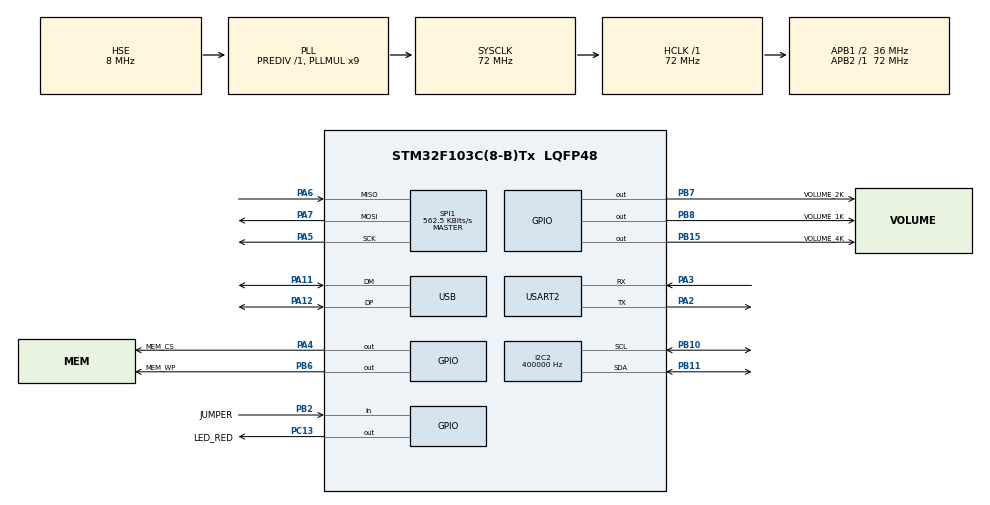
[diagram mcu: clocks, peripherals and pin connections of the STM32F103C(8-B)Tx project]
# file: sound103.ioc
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Dma.I2C2_TX.0.Direction=DMA_MEMORY_TO_PERIPH
Dma.I2C2_TX.0.Instance=DMA1_Channel4
Dma.I2C2_TX.0.MemDataAlignment=DMA_MDATAALIGN_BYTE
Dma.I2C2_TX.0.MemInc=DMA_MINC_ENABLE
Dma.I2C2_TX.0.Mode=DMA_NORMAL
Dma.I2C2_TX.0.PeriphDataAlignment=DMA_PDATAALIGN_BYTE
Dma.I2C2_TX.0.PeriphInc=DMA_PINC_DISABLE
Dma.I2C2_TX.0.Priority=DMA_PRIORITY_VERY_HIGH
Dma.Request0=I2C2_TX
FATFS._CODE_PAGE=855
FATFS._FS_LOCK=1
FATFS._FS_MINIMIZE=3
FATFS._FS_TINY=1
FATFS._MAX_LFN=12
FATFS._MAX_SS=4096
FATFS._MIN_SS=4096
FATFS._STRF_ENCODE=0
FATFS._USE_FASTSEEK=0
FATFS._USE_MKFS=1
FATFS._USE_STRFUNC=0
FREERTOS.BinarySemaphores01=dmaCpltSoundSem,Dynamic,NULL;doPlayingSem,Dynamic,NULL
FREERTOS.Tasks01=MainTask,0,128,StartMainTask,Default,NULL,Dynamic,NULL,NULL;SoundTask,3,128,StartSound,Default,NULL,Dynamic,NULL,NULL;WiFiTask,0,128,StartWiFiTask,Default,NULL,Dynamic,NULL,NULL;GsmTask,0,128,StartGsmTask,Default,NULL,Dynamic,NULL,NULL
FREERTOS.configCHECK_FOR_STACK_OVERFLOW=2
FREERTOS.configENABLE_BACKWARD_COMPATIBILITY=0
FREERTOS.configTOTAL_HEAP_SIZE=3500
I2C2.ClockSpeed=400000
I2C2.I2C_Mode=I2C_Fast
Mcu.Family=STM32F1
Mcu.Name=STM32F103C(8-B)Tx
Mcu.Package=LQFP48
NVIC.DMA1_Channel4_IRQn=true\:10\:0\:true\:false\:true\:true\:true
NVIC.I2C2_ER_IRQn=true\:6\:0\:true\:false\:true\:false\:true
NVIC.I2C2_EV_IRQn=true\:6\:0\:true\:false\:true\:false\:true
NVIC.PriorityGroup=NVIC_PRIORITYGROUP_4
NVIC.TIM3_IRQn=true\:0\:0\:false\:false\:true\:false\:true
NVIC.TimeBase=TIM3_IRQn
NVIC.TimeBaseIP=TIM3
NVIC.USB_LP_CAN1_RX0_IRQn=true\:5\:0\:false\:false\:true\:true\:true
PA0-WKUP.Signal=S_TIM2_CH1_ETR
PA11.Mode=Device
PA11.Signal=USB_DM
PA12.Mode=Device
PA12.Signal=USB_DP
PA13.Mode=Trace_Asynchronous_SW
PA13.Signal=SYS_JTMS-SWDIO
PA14.Mode=Trace_Asynchronous_SW
PA14.Signal=SYS_JTCK-SWCLK
PA2.Mode=Asynchronous
PA2.Signal=USART2_TX
PA3.Mode=Asynchronous
PA3.Signal=USART2_RX
PA4.GPIO_Label=MEM_CS
PA4.PinState=GPIO_PIN_SET
PA4.Signal=GPIO_Output
PA5.Mode=Full_Duplex_Master
PA5.Signal=SPI1_SCK
PA6.Mode=Full_Duplex_Master
PA6.Signal=SPI1_MISO
PA7.Mode=Full_Duplex_Master
PA7.Signal=SPI1_MOSI
PB10.Mode=I2C
PB10.Signal=I2C2_SCL
PB11.Mode=I2C
PB11.Signal=I2C2_SDA
PB15.GPIO_Label=VOLUME_4K
PB15.GPIO_ModeDefaultOutputPP=GPIO_MODE_OUTPUT_OD
PB15.Signal=GPIO_Output
PB2.GPIO_Label=JUMPER
PB2.GPIO_PuPd=GPIO_NOPULL
PB2.Signal=GPIO_Input
PB3.Mode=Trace_Asynchronous_SW
PB3.Signal=SYS_JTDO-TRACESWO
PB6.GPIO_Label=MEM_WP
PB6.PinState=GPIO_PIN_SET
PB6.Signal=GPIO_Output
PB7.GPIO_Label=VOLUME_2K
PB7.GPIO_ModeDefaultOutputPP=GPIO_MODE_OUTPUT_OD
PB7.Signal=GPIO_Output
PB8.GPIO_Label=VOLUME_1K
PB8.GPIO_ModeDefaultOutputPP=GPIO_MODE_OUTPUT_OD
PB8.Signal=GPIO_Output
PC13-TAMPER-RTC.GPIO_Label=LED_RED
PC13-TAMPER-RTC.Signal=GPIO_Output
PC14-OSC32_IN.Mode=LSE-External-Oscillator
PC14-OSC32_IN.Signal=RCC_OSC32_IN
PC15-OSC32_OUT.Mode=LSE-External-Oscillator
PC15-OSC32_OUT.Signal=RCC_OSC32_OUT
PD0-OSC_IN.Mode=HSE-External-Oscillator
PD0-OSC_IN.Signal=RCC_OSC_IN
PD1-OSC_OUT.Mode=HSE-External-Oscillator
PD1-OSC_OUT.Signal=RCC_OSC_OUT
ProjectManager.HeapSize=0x200
ProjectManager.StackSize=0x800
ProjectManager.TargetToolchain=EWARM
RCC.ADCPresc=RCC_ADCPCLK2_DIV6
RCC.AHBFreq_Value=72000000
RCC.APB1CLKDivider=RCC_HCLK_DIV2
RCC.APB1Freq_Value=36000000
RCC.APB1TimFreq_Value=72000000
RCC.APB2Freq_Value=72000000
RCC.APB2TimFreq_Value=72000000
RCC.HCLKFreq_Value=72000000
RCC.PLLMUL=RCC_PLL_MUL9
RCC.RTCClockSelection=RCC_RTCCLKSOURCE_LSE
RCC.SYSCLKFreq_VALUE=72000000
RCC.SYSCLKSource=RCC_SYSCLKSOURCE_PLLCLK
RCC.USBFreq_Value=48000000
RCC.USBPrescaler=RCC_USBCLKSOURCE_PLL_DIV1_5
SH.S_TIM2_CH1_ETR.0=TIM2_CH1
SPI1.BaudRatePrescaler=SPI_BAUDRATEPRESCALER_128
SPI1.CalculateBaudRate=562.5 KBits/s
SPI1.Direction=SPI_DIRECTION_2LINES
SPI1.Mode=SPI_MODE_MASTER
SPI1.VirtualType=VM_MASTER
USART2.VirtualMode=VM_ASYNC
USB.ep0_mps=DEP0CTL_MPS_64
USB_DEVICE.CLASS_NAME_FS=MSC
USB_DEVICE.MANUFACTURER_STRING=Sound_Reklama
USB_DEVICE.MSC_MEDIA_PACKET=4096
USB_DEVICE.PRODUCT_STRING_MSC_FS=Sound Reklama FLASH
USB_DEVICE.USBD_MAX_STR_DESC_SIZ=128
USB_DEVICE.USBD_SUPPORT_USER_STRING=0
USB_DEVICE.VirtualMode=Msc
USB_DEVICE.VirtualModeFS=Msc_FS
VP_FATFS_VS_Generic.Mode=User_defined
VP_FREERTOS_VS_ENABLE.Mode=Enabled
VP_SYS_VS_tim3.Mode=TIM3
VP_USB_DEVICE_VS_USB_DEVICE_MSC_FS.Mode=MSC_FS
board=sound103

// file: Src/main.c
/**
  ******************************************************************************
  * @file           : main.c
  * @brief          : Main program body
  ******************************************************************************
  * This notice applies to any and all portions of this file
  * that are not between comment pairs USER CODE BEGIN and
  * USER CODE END. Other portions of this file, whether
  * inserted by the user or by software development tools
  * are owned by their respective copyright owners.
  *
  * Copyright (c) 2018 STMicroelectronics International N.V.
  * All rights reserved.
  *
  * Redistribution and use in source and binary forms, with or without
  * modification, are permitted, provided that the following conditions are met:
  *
  * 1. Redistribution of source code must retain the above copyright notice,
  *    this list of conditions and the following disclaimer.
  * 2. Redistributions in binary form must reproduce the above copyright notice,
  *    this list of conditions and the following disclaimer in the documentation
  *    and/or other materials provided with the distribution.
  * 3. Neither the name of STMicroelectronics nor the names of other
  *    contributors to this software may be used to endorse or promote products
  *    derived from this software without specific written permission.
  * 4. This software, including modifications and/or derivative works of this
  *    software, must execute solely and exclusively on microcontroller or
  *    microprocessor devices manufactured by or for STMicroelectronics.
  * 5. Redistribution and use of this software other than as permitted under
  *    this license is void and will automatically terminate your rights under
  *    this license.
  *
  * THIS SOFTWARE IS PROVIDED BY STMICROELECTRONICS AND CONTRIBUTORS "AS IS"
  * AND ANY EXPRESS, IMPLIED OR STATUTORY WARRANTIES, INCLUDING, BUT NOT
  * LIMITED TO, THE IMPLIED WARRANTIES OF MERCHANTABILITY, FITNESS FOR A
  * PARTICULAR PURPOSE AND NON-INFRINGEMENT OF THIRD PARTY INTELLECTUAL PROPERTY
  * RIGHTS ARE DISCLAIMED TO THE FULLEST EXTENT PERMITTED BY LAW. IN NO EVENT
  * SHALL STMICROELECTRONICS OR CONTRIBUTORS BE LIABLE FOR ANY DIRECT, INDIRECT,
  * INCIDENTAL, SPECIAL, EXEMPLARY, OR CONSEQUENTIAL DAMAGES (INCLUDING, BUT NOT
  * LIMITED TO, PROCUREMENT OF SUBSTITUTE GOODS OR SERVICES; LOSS OF USE, DATA,
  * OR PROFITS; OR BUSINESS INTERRUPTION) HOWEVER CAUSED AND ON ANY THEORY OF
  * LIABILITY, WHETHER IN CONTRACT, STRICT LIABILITY, OR TORT (INCLUDING
  * NEGLIGENCE OR OTHERWISE) ARISING IN ANY WAY OUT OF THE USE OF THIS SOFTWARE,
  * EVEN IF ADVISED OF THE POSSIBILITY OF SUCH DAMAGE.
  *
  ******************************************************************************
  */
#include "main.h"
#include "stm32f1xx_hal.h"
#include "cmsis_os.h"
#include "fatfs.h"
#include "usb_device.h"

/* USER CODE BEGIN Includes */
#include "SPI_Flash.h"
#include "Tasks/MainTask.h"
#include "Tasks/SoundTask.h"
#include "Tasks/WiFiTask.h"
/* USER CODE END Includes */

I2C_HandleTypeDef hi2c2;
DMA_HandleTypeDef hdma_i2c2_tx;

SPI_HandleTypeDef hspi1;

UART_HandleTypeDef huart2;

osThreadId MainTaskHandle;
osThreadId SoundTaskHandle;
osThreadId WiFiTaskHandle;
osThreadId GsmTaskHandle;
osSemaphoreId dmaCpltSoundSemHandle;
osSemaphoreId doPlayingSemHandle;

/* USER CODE BEGIN PV */
/* Private variables ---------------------------------------------------------*/
volatile int flagUSBconnected = 0, flagProgrammRunning = 0;
/* USER CODE END PV */

void SystemClock_Config(void);
static void MX_GPIO_Init(void);
static void MX_DMA_Init(void);
static void MX_I2C2_Init(void);
static void MX_USART2_UART_Init(void);
static void MX_SPI1_Init(void);
void StartMainTask(void const * argument);
void StartSound(void const * argument);
void StartWiFiTask(void const * argument);
void StartGsmTask(void const * argument);
static void MX_NVIC_Init(void);

/* USER CODE BEGIN PFP */
/* Private function prototypes -----------------------------------------------*/

/* USER CODE END PFP */

int main(void)
{
  /* USER CODE BEGIN 1 */
  uint32_t timerUSB = 0;
  /* USER CODE END 1 */

  /* MCU Configuration----------------------------------------------------------*/

  /* Reset of all peripherals, Initializes the Flash interface and the Systick. */
  HAL_Init();

  /* Configure the system clock */
  SystemClock_Config();

  /* Initialize all configured peripherals */
  MX_GPIO_Init();
  MX_DMA_Init();
  MX_I2C2_Init();
  MX_USART2_UART_Init();
  MX_SPI1_Init();

  /* Initialize interrupts */
  MX_NVIC_Init();
  /* USER CODE BEGIN 2 */
  SPIFlashInit();
 // while(1)
 // SPIFlashEraseAllChip();
  MX_USB_DEVICE_Init();
  HAL_Delay(100);
  do {
      if (flagUSBconnected) {
          flagUSBconnected = 0;
          timerUSB = HAL_GetTick();
      }
  } while (HAL_GetTick() - timerUSB < 2000);
  flagProgrammRunning = 1;
  flagUSBconnected = 0;
  HAL_GPIO_WritePin(LED_RED_GPIO_Port, LED_RED_Pin, 1);

  /* USER CODE END 2 */

  /* Create the semaphores(s) */
  /* definition and creation of dmaCpltSoundSem */
  osSemaphoreDef(dmaCpltSoundSem);
  dmaCpltSoundSemHandle = osSemaphoreCreate(osSemaphore(dmaCpltSoundSem), 1);

  /* definition and creation of doPlayingSem */
  osSemaphoreDef(doPlayingSem);
  doPlayingSemHandle = osSemaphoreCreate(osSemaphore(doPlayingSem), 1);

  /* Create the thread(s) */
  /* definition and creation of MainTask */
  osThreadDef(MainTask, StartMainTask, osPriorityNormal, 0, 128);
  MainTaskHandle = osThreadCreate(osThread(MainTask), NULL);

  /* definition and creation of SoundTask */
  osThreadDef(SoundTask, StartSound, osPriorityRealtime, 0, 128);
  SoundTaskHandle = osThreadCreate(osThread(SoundTask), NULL);

  /* definition and creation of WiFiTask */
  osThreadDef(WiFiTask, StartWiFiTask, osPriorityNormal, 0, 128);
  WiFiTaskHandle = osThreadCreate(osThread(WiFiTask), NULL);

  /* definition and creation of GsmTask */
  osThreadDef(GsmTask, StartGsmTask, osPriorityNormal, 0, 128);
  GsmTaskHandle = osThreadCreate(osThread(GsmTask), NULL);

  /* Start scheduler */
  osKernelStart();

  /* We should never get here as control is now taken by the scheduler */

  /* Infinite loop */
  while (1)
  {

  }

}

void SystemClock_Config(void)
{

  RCC_OscInitTypeDef RCC_OscInitStruct;
  RCC_ClkInitTypeDef RCC_ClkInitStruct;
  RCC_PeriphCLKInitTypeDef PeriphClkInit;

    /**Initializes the CPU, AHB and APB busses clocks
    */
  RCC_OscInitStruct.OscillatorType = RCC_OSCILLATORTYPE_HSE;
  RCC_OscInitStruct.HSEState = RCC_HSE_ON;
  RCC_OscInitStruct.HSEPredivValue = RCC_HSE_PREDIV_DIV1;
  RCC_OscInitStruct.HSIState = RCC_HSI_ON;
  RCC_OscInitStruct.PLL.PLLState = RCC_PLL_ON;
  RCC_OscInitStruct.PLL.PLLSource = RCC_PLLSOURCE_HSE;
  RCC_OscInitStruct.PLL.PLLMUL = RCC_PLL_MUL9;
  if (HAL_RCC_OscConfig(&RCC_OscInitStruct) != HAL_OK)
  {
    _Error_Handler(__FILE__, __LINE__);
  }

    /**Initializes the CPU, AHB and APB busses clocks
    */
  RCC_ClkInitStruct.ClockType = RCC_CLOCKTYPE_HCLK|RCC_CLOCKTYPE_SYSCLK
                              |RCC_CLOCKTYPE_PCLK1|RCC_CLOCKTYPE_PCLK2;
  RCC_ClkInitStruct.SYSCLKSource = RCC_SYSCLKSOURCE_PLLCLK;
  RCC_ClkInitStruct.AHBCLKDivider = RCC_SYSCLK_DIV1;
  RCC_ClkInitStruct.APB1CLKDivider = RCC_HCLK_DIV2;
  RCC_ClkInitStruct.APB2CLKDivider = RCC_HCLK_DIV1;

  if (HAL_RCC_ClockConfig(&RCC_ClkInitStruct, FLASH_LATENCY_2) != HAL_OK)
  {
    _Error_Handler(__FILE__, __LINE__);
  }

  PeriphClkInit.PeriphClockSelection = RCC_PERIPHCLK_USB;
  PeriphClkInit.UsbClockSelection = RCC_USBCLKSOURCE_PLL_DIV1_5;
  if (HAL_RCCEx_PeriphCLKConfig(&PeriphClkInit) != HAL_OK)
  {
    _Error_Handler(__FILE__, __LINE__);
  }

    /**Configure the Systick interrupt time
    */
  HAL_SYSTICK_Config(HAL_RCC_GetHCLKFreq()/1000);

    /**Configure the Systick
    */
  HAL_SYSTICK_CLKSourceConfig(SYSTICK_CLKSOURCE_HCLK);

  /* SysTick_IRQn interrupt configuration */
  HAL_NVIC_SetPriority(SysTick_IRQn, 15, 0);
}

/**
  * @brief NVIC Configuration.
  * @retval None
  */
static void MX_NVIC_Init(void)
{
  /* DMA1_Channel5_IRQn interrupt configuration */
  NVIC_SetPriority(DMA1_Channel5_IRQn, NVIC_EncodePriority(NVIC_GetPriorityGrouping(),5, 0));
  NVIC_EnableIRQ(DMA1_Channel5_IRQn);
}

/* I2C2 init function */
static void MX_I2C2_Init(void)
{

  hi2c2.Instance = I2C2;
  hi2c2.Init.ClockSpeed = 400000;
  hi2c2.Init.DutyCycle = I2C_DUTYCYCLE_2;
  hi2c2.Init.OwnAddress1 = 0;
  hi2c2.Init.AddressingMode = I2C_ADDRESSINGMODE_7BIT;
  hi2c2.Init.DualAddressMode = I2C_DUALADDRESS_DISABLE;
  hi2c2.Init.OwnAddress2 = 0;
  hi2c2.Init.GeneralCallMode = I2C_GENERALCALL_DISABLE;
  hi2c2.Init.NoStretchMode = I2C_NOSTRETCH_DISABLE;
  if (HAL_I2C_Init(&hi2c2) != HAL_OK)
  {
    _Error_Handler(__FILE__, __LINE__);
  }

}

/* SPI1 init function */
static void MX_SPI1_Init(void)
{

  /* SPI1 parameter configuration*/
  hspi1.Instance = SPI1;
  hspi1.Init.Mode = SPI_MODE_MASTER;
  hspi1.Init.Direction = SPI_DIRECTION_2LINES;
  hspi1.Init.DataSize = SPI_DATASIZE_8BIT;
  hspi1.Init.CLKPolarity = SPI_POLARITY_LOW;
  hspi1.Init.CLKPhase = SPI_PHASE_1EDGE;
  hspi1.Init.NSS = SPI_NSS_SOFT;
  hspi1.Init.BaudRatePrescaler = SPI_BAUDRATEPRESCALER_128;
  hspi1.Init.FirstBit = SPI_FIRSTBIT_MSB;
  hspi1.Init.TIMode = SPI_TIMODE_DISABLE;
  hspi1.Init.CRCCalculation = SPI_CRCCALCULATION_DISABLE;
  hspi1.Init.CRCPolynomial = 10;
  if (HAL_SPI_Init(&hspi1) != HAL_OK)
  {
    _Error_Handler(__FILE__, __LINE__);
  }

}

/* USART2 init function */
static void MX_USART2_UART_Init(void)
{

  huart2.Instance = USART2;
  huart2.Init.BaudRate = 115200;
  huart2.Init.WordLength = UART_WORDLENGTH_8B;
  huart2.Init.StopBits = UART_STOPBITS_1;
  huart2.Init.Parity = UART_PARITY_NONE;
  huart2.Init.Mode = UART_MODE_TX_RX;
  huart2.Init.HwFlowCtl = UART_HWCONTROL_NONE;
  huart2.Init.OverSampling = UART_OVERSAMPLING_16;
  if (HAL_UART_Init(&huart2) != HAL_OK)
  {
    _Error_Handler(__FILE__, __LINE__);
  }

}

static void MX_DMA_Init(void)
{
  /* DMA controller clock enable */
  __HAL_RCC_DMA1_CLK_ENABLE();

  /* DMA interrupt init */
  /* DMA1_Channel4_IRQn interrupt configuration */
  HAL_NVIC_SetPriority(DMA1_Channel4_IRQn, 10, 0);
  HAL_NVIC_EnableIRQ(DMA1_Channel4_IRQn);

}

/** Configure pins as
        * Analog
        * Input
        * Output
        * EVENT_OUT
        * EXTI
     PA0-WKUP   ------> S_TIM2_CH1_ETR
*/
static void MX_GPIO_Init(void)
{

  GPIO_InitTypeDef GPIO_InitStruct;

  /* GPIO Ports Clock Enable */
  __HAL_RCC_GPIOC_CLK_ENABLE();
  __HAL_RCC_GPIOD_CLK_ENABLE();
  __HAL_RCC_GPIOA_CLK_ENABLE();
  __HAL_RCC_GPIOB_CLK_ENABLE();

  /*Configure GPIO pin Output Level */
  HAL_GPIO_WritePin(LED_RED_GPIO_Port, LED_RED_Pin, GPIO_PIN_RESET);

  /*Configure GPIO pin Output Level */
  HAL_GPIO_WritePin(MEM_CS_GPIO_Port, MEM_CS_Pin, GPIO_PIN_SET);

  /*Configure GPIO pin Output Level */
  HAL_GPIO_WritePin(GPIOB, VOLUME_4K_Pin|VOLUME_2K_Pin|VOLUME_1K_Pin, GPIO_PIN_RESET);

  /*Configure GPIO pin Output Level */
  HAL_GPIO_WritePin(MEM_WP_GPIO_Port, MEM_WP_Pin, GPIO_PIN_SET);

  /*Configure GPIO pin : LED_RED_Pin */
  GPIO_InitStruct.Pin = LED_RED_Pin;
  GPIO_InitStruct.Mode = GPIO_MODE_OUTPUT_PP;
  GPIO_InitStruct.Speed = GPIO_SPEED_FREQ_LOW;
  HAL_GPIO_Init(LED_RED_GPIO_Port, &GPIO_InitStruct);

  /*Configure GPIO pin : PA0 */
  GPIO_InitStruct.Pin = GPIO_PIN_0;
  GPIO_InitStruct.Mode = GPIO_MODE_AF_PP;
  GPIO_InitStruct.Speed = GPIO_SPEED_FREQ_LOW;
  HAL_GPIO_Init(GPIOA, &GPIO_InitStruct);

  /*Configure GPIO pin : MEM_CS_Pin */
  GPIO_InitStruct.Pin = MEM_CS_Pin;
  GPIO_InitStruct.Mode = GPIO_MODE_OUTPUT_PP;
  GPIO_InitStruct.Speed = GPIO_SPEED_FREQ_LOW;
  HAL_GPIO_Init(MEM_CS_GPIO_Port, &GPIO_InitStruct);

  /*Configure GPIO pin : JUMPER_Pin */
  GPIO_InitStruct.Pin = JUMPER_Pin;
  GPIO_InitStruct.Mode = GPIO_MODE_INPUT;
  GPIO_InitStruct.Pull = GPIO_NOPULL;
  HAL_GPIO_Init(JUMPER_GPIO_Port, &GPIO_InitStruct);

  /*Configure GPIO pins : VOLUME_4K_Pin VOLUME_2K_Pin VOLUME_1K_Pin */
  GPIO_InitStruct.Pin = VOLUME_4K_Pin|VOLUME_2K_Pin|VOLUME_1K_Pin;
  GPIO_InitStruct.Mode = GPIO_MODE_OUTPUT_OD;
  GPIO_InitStruct.Speed = GPIO_SPEED_FREQ_LOW;
  HAL_GPIO_Init(GPIOB, &GPIO_InitStruct);

  /*Configure GPIO pin : MEM_WP_Pin */
  GPIO_InitStruct.Pin = MEM_WP_Pin;
  GPIO_InitStruct.Mode = GPIO_MODE_OUTPUT_PP;
  GPIO_InitStruct.Speed = GPIO_SPEED_FREQ_LOW;
  HAL_GPIO_Init(MEM_WP_GPIO_Port, &GPIO_InitStruct);

}

/* StartMainTask function */
void StartMainTask(void const * argument)
{
  /* init code for USB_DEVICE */
  MX_USB_DEVICE_Init();

  /* init code for FATFS */
  MX_FATFS_Init();

  /* USER CODE BEGIN 5 */
  MainTaskInit();
  /* Infinite loop */
  for(;;)
  {

    MainTask();
    osDelay(2);
  }
  /* USER CODE END 5 */
}

/* StartSound function */
void StartSound(void const * argument)
{
  /* USER CODE BEGIN StartSound */
  SoundTaskInit();
  /* Infinite loop */
  for(;;)
  {
    SoundTask();
    osDelay(1);
  }
  /* USER CODE END StartSound */
}

/* StartWiFiTask function */
void StartWiFiTask(void const * argument)
{
  /* USER CODE BEGIN StartWiFiTask */
    WiFiTaskInit();
  /* Infinite loop */
  for(;;)
  {
    osDelay(1);
  }
  /* USER CODE END StartWiFiTask */
}

/* StartGsmTask function */
void StartGsmTask(void const * argument)
{
  for(;;)
  {
    osDelay(1);
  }
}

void HAL_TIM_PeriodElapsedCallback(TIM_HandleTypeDef *htim)
{
  if (htim->Instance == TIM3) {
    HAL_IncTick();
  }
}

void _Error_Handler(char *file, int line)
{
  while(1)
  {
  }
}

/************************ (C) COPYRIGHT STMicroelectronics *****END OF FILE****/

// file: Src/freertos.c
/**
  ******************************************************************************
  * File Name          : freertos.c
  * Description        : Code for freertos applications
  ******************************************************************************
  * This notice applies to any and all portions of this file
  * that are not between comment pairs USER CODE BEGIN and
  * USER CODE END. Other portions of this file, whether
  * inserted by the user or by software development tools
  * are owned by their respective copyright owners.
  *
  * Copyright (c) 2017 STMicroelectronics International N.V.
  * All rights reserved.
  *
  * Redistribution and use in source and binary forms, with or without
  * modification, are permitted, provided that the following conditions are met:
  *
  * 1. Redistribution of source code must retain the above copyright notice,
  *    this list of conditions and the following disclaimer.
  * 2. Redistributions in binary form must reproduce the above copyright notice,
  *    this list of conditions and the following disclaimer in the documentation
  *    and/or other materials provided with the distribution.
  * 3. Neither the name of STMicroelectronics nor the names of other
  *    contributors to this software may be used to endorse or promote products
  *    derived from this software without specific written permission.
  * 4. This software, including modifications and/or derivative works of this
  *    software, must execute solely and exclusively on microcontroller or
  *    microprocessor devices manufactured by or for STMicroelectronics.
  * 5. Redistribution and use of this software other than as permitted under
  *    this license is void and will automatically terminate your rights under
  *    this license.
  *
  * THIS SOFTWARE IS PROVIDED BY STMICROELECTRONICS AND CONTRIBUTORS "AS IS"
  * AND ANY EXPRESS, IMPLIED OR STATUTORY WARRANTIES, INCLUDING, BUT NOT
  * LIMITED TO, THE IMPLIED WARRANTIES OF MERCHANTABILITY, FITNESS FOR A
  * PARTICULAR PURPOSE AND NON-INFRINGEMENT OF THIRD PARTY INTELLECTUAL PROPERTY
  * RIGHTS ARE DISCLAIMED TO THE FULLEST EXTENT PERMITTED BY LAW. IN NO EVENT
  * SHALL STMICROELECTRONICS OR CONTRIBUTORS BE LIABLE FOR ANY DIRECT, INDIRECT,
  * INCIDENTAL, SPECIAL, EXEMPLARY, OR CONSEQUENTIAL DAMAGES (INCLUDING, BUT NOT
  * LIMITED TO, PROCUREMENT OF SUBSTITUTE GOODS OR SERVICES; LOSS OF USE, DATA,
  * OR PROFITS; OR BUSINESS INTERRUPTION) HOWEVER CAUSED AND ON ANY THEORY OF
  * LIABILITY, WHETHER IN CONTRACT, STRICT LIABILITY, OR TORT (INCLUDING
  * NEGLIGENCE OR OTHERWISE) ARISING IN ANY WAY OUT OF THE USE OF THIS SOFTWARE,
  * EVEN IF ADVISED OF THE POSSIBILITY OF SUCH DAMAGE.
  *
  ******************************************************************************
  */

#include "FreeRTOS.h"
#include "task.h"

/* Hook prototypes */
void vApplicationStackOverflowHook(TaskHandle_t xTask, signed char *pcTaskName);

/* USER CODE BEGIN 4 */
__weak void vApplicationStackOverflowHook(TaskHandle_t xTask, signed char *pcTaskName)
{
   /* Run time stack overflow checking is performed if
   configCHECK_FOR_STACK_OVERFLOW is defined to 1 or 2. This hook function is
   called if a stack overflow is detected. */
}
/* USER CODE END 4 */

/************************ (C) COPYRIGHT STMicroelectronics *****END OF FILE****/
